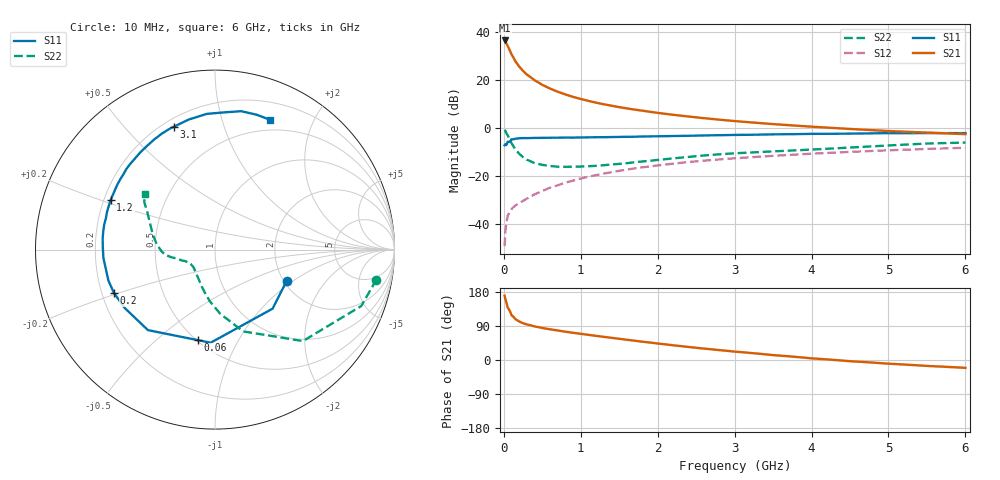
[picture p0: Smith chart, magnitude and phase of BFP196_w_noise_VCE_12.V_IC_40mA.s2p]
! Infineon Technologies  Discrete & RF Semiconductors
! BFP196
! VCE =  12. V,  IC =  40 mA
! Common Emitter S-Parameters:  Jan 2017
# GHz  S  MA  R  50
!  f  S11  S21  S12  S22
! GHz  MAG  ANG  MAG  ANG  MAG  ANG  MAG  ANG
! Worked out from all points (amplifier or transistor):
!   77 points, 10 MHz to 6 GHz, reference 50 ohm
!   highest |S21| = 36.6 dB at 10 MHz (marker M1)
!   |S21| within 3 dB of that: start of sweep to 60.68 MHz
!   unconditionally stable (mu >= 1): 645.7 MHz to 2.435 GHz
!   at 130 MHz: K = 0.53, MSG = 31.0 dB, |S12| = -32.9 dB
!   at 2.2 GHz: K = 1.01, MAG = 9.5 dB, |S12| = -14.9 dB
!   at 6 GHz: K = 0.93, MSG = 2.9 dB, |S12| = -8.2 dB
!   lowest NFmin = 1.34 dB at 450 MHz
!   S11 on the Smith chart (normalised r, x): 10 MHz: 2.08, -0.89; 60 MHz: 0.51, -0.69; 200 MHz: 0.25, -0.19; 1.2 GHz: 0.23, +0.21; 3.1 GHz: 0.24, +0.69; 6 GHz: 0.38, +1.44
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0.01  0.4358 -23.4  67.92 169.5  0.0034 68.4  0.9147 -10.5
0.02  0.4596 -45.7  66.05 160.4  0.0071 71.3  0.8734 -21.1
0.05  0.5194 -92.7  52.2 138.3  0.0146 56.6  0.7071 -46.1
0.06  0.5135 -100.6  48.35 135.5  0.0157 55.5  0.6544 -49.7
0.1  0.5839 -129.8  34.76 118.1  0.0203 52.3  0.4819 -71.0
0.15  0.5995 -147.3  24.96 107.9  0.0242 49.8  0.3575 -85.5
0.2  0.6128 -156.9  19.3 101.6  0.027 51.9  0.2899 -95.6
0.25  0.6185 -163.9  15.65 97.0  0.0301 53.7  0.2467 -103.2
0.3  0.6172 -168.5  13.14 93.8  0.0335 55.2  0.2181 -109.9
0.4  0.6234 -175.6  9.985 88.5  0.0412 59.7  0.1859 -119.8
0.5  0.6251 178.9  8.013 84.5  0.0484 60.8  0.1702 -127.5
0.6  0.6288 174.5  6.713 81.0  0.0567 62.3  0.1616 -133.9
0.7  0.6309 170.8  5.76 77.9  0.0637 63.3  0.1557 -138.7
0.9  0.6323 163.9  4.492 71.8  0.0798 63.1  0.1557 -145.7
1.1  0.6399 157.6  3.703 66.4  0.0964 62.3  0.1597 -150.8
1.2  0.6436 154.6  3.398 63.6  0.104 61.4  0.1625 -153.2
1.6  0.6575 143.4  2.579 53.3  0.1357 57.8  0.1848 -160.1
2.1  0.6777 130.1  1.987 41.3  0.1729 52.1  0.2241 -167.3
3.1  0.722 108.6  1.361 20.5  0.2392 39.6  0.3026 -179.5
4.1  0.7584 91.9  1.047 3.0  0.2967 28.0  0.3625 164.6
5.1  0.7843 78.0  0.855 -10.8  0.3478 16.5  0.4417 149.7
6  0.7855 66.9  0.747 -20.7  0.3875 6.4  0.4985 141.9
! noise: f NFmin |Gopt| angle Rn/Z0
0.45  1.34  0.36  177  0.05
0.9  1.49  0.46  -167  0.07
1.9  2.31  0.68  -133  0.28
2.4  2.71  0.7  -120  0.62
